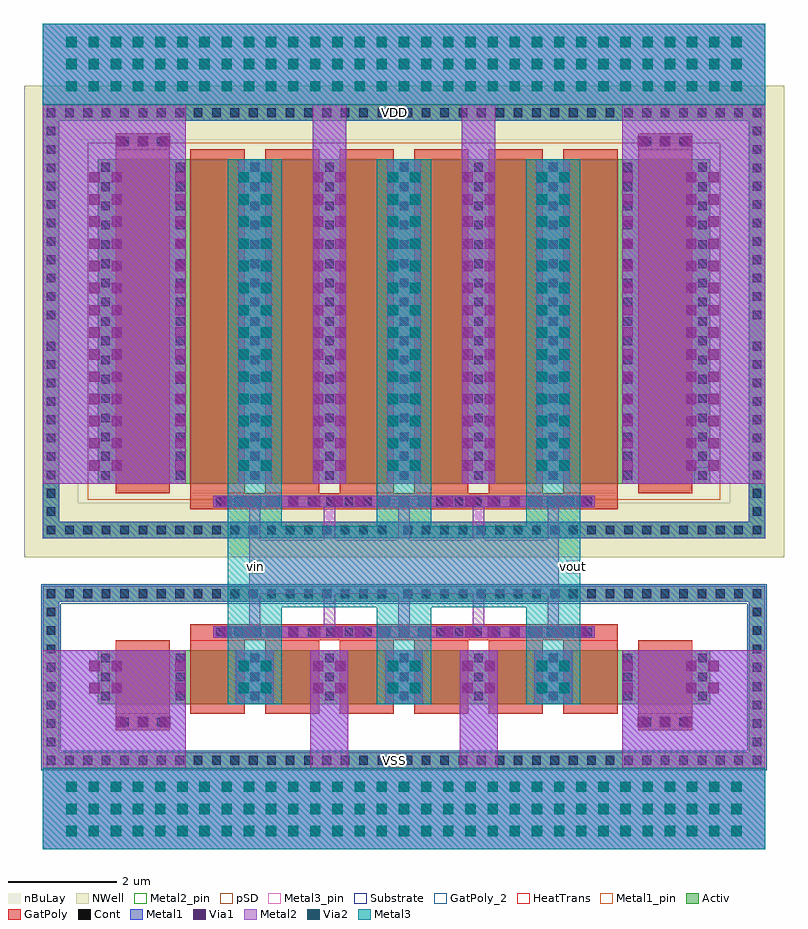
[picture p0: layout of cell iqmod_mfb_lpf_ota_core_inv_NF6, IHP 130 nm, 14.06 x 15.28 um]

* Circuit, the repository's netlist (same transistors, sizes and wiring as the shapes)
** sch_path: /foss/designs/TinyWhisper/ihp130/macros/iqmod/xschem/iqmod_mfb_lpf_ota_core_inv_NF6.sch
.subckt iqmod_mfb_lpf_ota_core_inv_NF6 nwell psub VDD vin vout VSS
*.PININFO vin:I VDD:B VSS:B vout:B nwell:B psub:B
MMdummy1 VSS VSS VSS psub sg13_lv_nmos w=2.0u l=1.0u ng=2
MMdummy2 VDD VDD VDD nwell sg13_lv_pmos w=12.0u l=1.0u ng=2
MM1 vout vin VSS psub sg13_lv_nmos w=6.0u l=1.0u ng=6
MM2 vout vin VDD nwell sg13_lv_pmos w=36.0u l=1.0u ng=6
RR1 VDD nwell ntap1 A=1.2468e-11 P=8.312e-05
RR2 VSS psub ptap1 A=9.684e-12 P=6.456e-05
.ends

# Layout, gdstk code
import gdstk
lib = gdstk.Library(unit=1e-6, precision=5e-09)
def R(c, l, rs):  # rectangles x0, y0, x1, y1
    for r in rs: c.add(gdstk.rectangle(r[:2], r[2:], *l))
def A(c, l, x, y, w, h, nx, ny, dx, dy):  # array of equal rectangles
    R(c, l, [(x+i*dx, y+j*dy, x+i*dx+w, y+j*dy+h) for i in range(nx) for j in range(ny)])
def P(c, l, *ps):  # polygons
    for p in ps: c.add(gdstk.Polygon(p, *l))
Activ = (1, 0)
GatPoly = (5, 0)
GatPoly_2 = (5, 2)
Cont = (6, 0)
Metal1 = (8, 0)
Metal1_pin = (8, 2)
Metal2 = (10, 0)
Metal2_pin = (10, 2)
pSD = (14, 0)
Via1 = (19, 0)
Via2 = (29, 0)
Metal3 = (30, 0)
Metal3_pin = (30, 2)
NWell = (31, 0)
nBuLay = (32, 0)
Substrate = (40, 0)
HeatTrans = (51, 0)

pmos_1 = lib.new_cell('pmos$1')
A(pmos_1, Activ, 0, 0, 0.3, 0.3, 9, 1, 1.38, 0)
R(pmos_1, Activ, [(-1.01,-0.71,-0.71,6.71), (12.05,-0.71,12.35,6.71), (0,0,11.34,6), (-1.01,6.71,12.35,7.01)])
P(pmos_1, Activ, [(-1.01,-1.01),(-1.01,6.71),(-0.71,6.71),(-0.71,-0.71),(12.05,-0.71),(12.05,6.71),(-1.01,6.71),(-1.01,7.01),(12.35,7.01),(12.35,-1.01)])
A(pmos_1, GatPoly, 0.34, -0.18, 1, 6.36, 8, 1, 1.38, 0)
R(pmos_1, GatPoly, [(0.34,-0.18,1.34,6.18)])
A(pmos_1, Cont, -0.94, -0.94, 0.16, 0.16, 19, 2, 0.34, 7.72)
A(pmos_1, Cont, 5.66, -0.94, 0.16, 0.16, 20, 2, 0.34, 7.72)
A(pmos_1, Cont, -0.94, -0.6, 0.16, 0.16, 1, 10, 0, 0.34)
A(pmos_1, Cont, 12.12, -0.6, 0.16, 0.16, 1, 10, 0, 0.34)
A(pmos_1, Cont, 0.07, 0.07, 0.16, 0.16, 9, 4, 1.38, 0.355)
A(pmos_1, Cont, 0.07, 1.495, 0.16, 0.16, 9, 4, 1.38, 0.355)
A(pmos_1, Cont, 0.07, 2.92, 0.16, 0.16, 9, 4, 1.38, 0.355)
A(pmos_1, Cont, -0.94, 3.04, 0.16, 0.16, 1, 11, 0, 0.34)
A(pmos_1, Cont, 12.12, 3.04, 0.16, 0.16, 1, 11, 0, 0.34)
A(pmos_1, Cont, 0.07, 4.345, 0.16, 0.16, 9, 4, 1.38, 0.355)
A(pmos_1, Cont, 0.07, 5.77, 0.16, 0.16, 9, 1, 1.38, 0)
A(pmos_1, Metal1, 1.45, 0, 0.16, 6, 8, 1, 1.38, 0)
R(pmos_1, Metal1, [(-1.01,-1.01,12.35,-0.71), (-1.01,-0.71,-0.71,6.71), (12.05,-0.71,12.35,6.71), (0.07,0,0.23,6), (0.07,0,0.23,6), (1.45,0,1.61,6), (-1.01,6.71,12.35,7.01)])
R(pmos_1, pSD, [(-0.18,-0.3,11.52,6.3)])
R(pmos_1, NWell, [(-1.36,-1.36,12.7,7.36), (-0.31,-0.31,11.65,6.31)])
R(pmos_1, nBuLay, [(-1.36,-0.36,-0.36,6.36), (11.7,-0.36,12.7,6.36), (-1.36,6.36,12.7,7.36)])
P(pmos_1, nBuLay, [(-1.36,-1.36),(-1.36,6.36),(-0.36,6.36),(-0.36,-0.36),(11.7,-0.36),(11.7,6.36),(-1.36,6.36),(-1.36,7.36),(12.7,7.36),(12.7,-1.36)])
R(pmos_1, Substrate, [(11.04,0,11.34,0.3)])
A(pmos_1, HeatTrans, 0.34, -0.18, 1, 6.36, 8, 1, 1.38, 0)
pmos_1.add(gdstk.Label('pmos', (0.84,3), layer=63, texttype=0))
pmos_1.add(gdstk.Label('well', (5.67,-0.86), layer=63, texttype=0))
pmos_1.add(gdstk.Label('pmos', (0.84,3), layer=51, texttype=0))
pmos_1.add(gdstk.Label('pmos', (2.22,3), layer=51, texttype=0))
pmos_1.add(gdstk.Label('pmos', (3.6,3), layer=51, texttype=0))
pmos_1.add(gdstk.Label('pmos', (4.98,3), layer=51, texttype=0))
pmos_1.add(gdstk.Label('pmos', (6.36,3), layer=51, texttype=0))
pmos_1.add(gdstk.Label('pmos', (7.74,3), layer=51, texttype=0))
pmos_1.add(gdstk.Label('pmos', (9.12,3), layer=51, texttype=0))
pmos_1.add(gdstk.Label('pmos', (10.5,3), layer=51, texttype=0))

nmos = lib.new_cell('nmos')
A(nmos, Activ, 0, 0, 0.3, 0.3, 9, 1, 1.38, 0)
R(nmos, Activ, [(-1.01,-0.89,-0.71,1.89), (12.05,-0.89,12.35,1.89), (0,0,11.34,1), (-1.01,1.89,12.35,2.19)])
P(nmos, Activ, [(-1.01,-1.19),(-1.01,1.89),(-0.71,1.89),(-0.71,-0.89),(12.05,-0.89),(12.05,1.89),(-1.01,1.89),(-1.01,2.19),(12.35,2.19),(12.35,-1.19)])
A(nmos, GatPoly, 0.34, -0.18, 1, 1.36, 8, 1, 1.38, 0)
R(nmos, GatPoly_2, [(0.34,-0.18,1.34,1.18)])
A(nmos, Cont, -0.94, -1.12, 0.16, 0.16, 19, 2, 0.34, 3.08)
A(nmos, Cont, 5.66, -1.12, 0.16, 0.16, 20, 2, 0.34, 3.08)
A(nmos, Cont, -0.94, -0.78, 0.16, 0.16, 1, 4, 0, 0.34)
A(nmos, Cont, 12.12, -0.78, 0.16, 0.16, 1, 4, 0, 0.34)
A(nmos, Cont, 0.07, 0.07, 0.16, 0.16, 9, 3, 1.38, 0.35)
A(nmos, Cont, -0.94, 0.6, 0.16, 0.16, 1, 4, 0, 0.34)
A(nmos, Cont, 12.12, 0.6, 0.16, 0.16, 1, 4, 0, 0.34)
A(nmos, Metal1, 0.07, 0, 0.16, 1, 9, 1, 1.38, 0)
R(nmos, Metal1, [(-1.01,-1.19,12.35,-0.89), (-1.01,-0.89,-0.71,1.89), (12.05,-0.89,12.35,1.89), (-1.01,1.89,12.35,2.19)])
R(nmos, Metal1_pin, [(0.07,0,0.23,1), (1.45,0,1.61,1)])
R(nmos, pSD, [(-1.04,-0.86,-0.68,1.86), (12.02,-0.86,12.38,1.86), (-1.04,1.86,12.38,2.22)])
P(nmos, pSD, [(-1.04,-1.22),(-1.04,1.86),(-0.68,1.86),(-0.68,-0.86),(12.02,-0.86),(12.02,1.86),(-1.04,1.86),(-1.04,2.22),(12.38,2.22),(12.38,-1.22)])
R(nmos, Substrate, [(-1.04,-0.86,-0.68,1.86), (12.02,-0.86,12.38,1.86), (-1.04,1.86,12.38,2.22)])
P(nmos, Substrate, [(-1.04,-1.22),(-1.04,1.86),(-0.68,1.86),(-0.68,-0.86),(12.02,-0.86),(12.02,1.86),(-1.04,1.86),(-1.04,2.22),(12.38,2.22),(12.38,-1.22)])
A(nmos, HeatTrans, 0.34, -0.18, 1, 1.36, 8, 1, 1.38, 0)
nmos.add(gdstk.Label('nmos', (0.84,0.5), layer=63, texttype=0))
nmos.add(gdstk.Label('sub!', (5.67,-1.04), layer=63, texttype=0))
nmos.add(gdstk.Label('nmos', (0.84,0.5), layer=51, texttype=0))
nmos.add(gdstk.Label('nmos', (2.22,0.5), layer=51, texttype=0))
nmos.add(gdstk.Label('nmos', (3.6,0.5), layer=51, texttype=0))
nmos.add(gdstk.Label('nmos', (4.98,0.5), layer=51, texttype=0))
nmos.add(gdstk.Label('nmos', (6.36,0.5), layer=51, texttype=0))
nmos.add(gdstk.Label('nmos', (7.74,0.5), layer=51, texttype=0))
nmos.add(gdstk.Label('nmos', (9.12,0.5), layer=51, texttype=0))
nmos.add(gdstk.Label('nmos', (10.5,0.5), layer=51, texttype=0))

via_stack_13 = lib.new_cell('via_stack$13')
R(via_stack_13, Metal1, [(-6.295,-0.515,6.295,0.515)])
R(via_stack_13, Metal2, [(-6.295,-0.51,6.295,0.51)])
A(via_stack_13, Via1, -6.245, -0.505, 0.19, 0.19, 31, 3, 0.41, 0.41)
A(via_stack_13, Via2, -6.245, -0.505, 0.19, 0.19, 31, 3, 0.41, 0.41)
R(via_stack_13, Metal3, [(-6.295,-0.51,6.295,0.51)])

via_stack_10 = lib.new_cell('via_stack$10')
R(via_stack_10, Metal1, [(-3.425,-0.105,3.425,0.105)])
R(via_stack_10, Metal2, [(-3.425,-0.1,3.425,0.1)])
A(via_stack_10, Via1, -3.375, -0.095, 0.19, 0.19, 17, 1, 0.41, 0)

via_stack_9 = lib.new_cell('via_stack$9')
R(via_stack_9, GatPoly, [(-3.55,-0.15,3.55,0.15)])
A(via_stack_9, Cont, -3.48, -0.08, 0.16, 0.16, 21, 1, 0.34, 0)
R(via_stack_9, Metal1, [(-3.53,-0.08,3.53,0.08)])

via_stack_12 = lib.new_cell('via_stack$12')
R(via_stack_12, Metal1, [(-0.31,-2.81,0.31,2.81)])
R(via_stack_12, Metal2, [(-0.305,-2.81,0.305,2.81)])
A(via_stack_12, Via1, -0.3, -2.76, 0.19, 0.19, 1, 14, 0, 0.41)
A(via_stack_12, Via1, 0.11, -2.76, 0.19, 0.19, 1, 14, 0, 0.41)
A(via_stack_12, Via2, -0.3, -2.76, 0.19, 0.19, 1, 14, 0, 0.41)
A(via_stack_12, Via2, 0.11, -2.76, 0.19, 0.19, 1, 14, 0, 0.41)
R(via_stack_12, Metal3, [(-0.305,-2.81,0.305,2.81)])

via_stack = lib.new_cell('via_stack')
R(via_stack, Metal1, [(-0.35,-0.31,0.35,0.31)])
R(via_stack, Metal2, [(-0.35,-0.305,0.35,0.305)])
R(via_stack, Via1, [(-0.3,-0.3,-0.11,-0.11), (0.11,-0.3,0.3,-0.11), (-0.3,0.11,-0.11,0.3), (0.11,0.11,0.3,0.3)])
R(via_stack, Via2, [(-0.3,-0.3,-0.11,-0.11), (0.11,-0.3,0.3,-0.11), (-0.3,0.11,-0.11,0.3), (0.11,0.11,0.3,0.3)])
R(via_stack, Metal3, [(-0.35,-0.305,0.35,0.305)])

via_stack_5 = lib.new_cell('via_stack$5')
R(via_stack_5, Metal1, [(-0.35,-0.31,0.35,0.31)])
R(via_stack_5, Metal2, [(-0.35,-0.305,0.35,0.305)])
R(via_stack_5, Via1, [(-0.3,-0.3,-0.11,-0.11), (0.11,-0.3,0.3,-0.11), (-0.3,0.11,-0.11,0.3), (0.11,0.11,0.3,0.3)])

via_stack_8 = lib.new_cell('via_stack$8')
R(via_stack_8, Metal1, [(-0.105,-0.35,0.105,0.35)])
R(via_stack_8, Metal2, [(-0.1,-0.35,0.1,0.35)])
R(via_stack_8, Via1, [(-0.095,-0.3,0.095,-0.11), (-0.095,0.11,0.095,0.3)])

via_stack_11 = lib.new_cell('via_stack$11')
R(via_stack_11, Metal1, [(-0.31,-2.81,0.31,2.81)])
R(via_stack_11, Metal2, [(-0.305,-2.81,0.305,2.81)])
A(via_stack_11, Via1, -0.3, -2.76, 0.19, 0.19, 1, 14, 0, 0.41)
A(via_stack_11, Via1, 0.11, -2.76, 0.19, 0.19, 1, 14, 0, 0.41)

via_stack_7 = lib.new_cell('via_stack$7')
R(via_stack_7, Metal1, [(-0.105,-2.81,0.105,2.81)])
R(via_stack_7, Metal2, [(-0.1,-2.81,0.1,2.81)])
A(via_stack_7, Via1, -0.095, -2.76, 0.19, 0.19, 1, 14, 0, 0.41)

via_stack_15 = lib.new_cell('via_stack$15')
R(via_stack_15, GatPoly, [(-0.49,-0.15,0.49,0.15)])
A(via_stack_15, Cont, -0.42, -0.08, 0.16, 0.16, 3, 1, 0.34, 0)
R(via_stack_15, Metal1, [(-0.555,-0.105,0.555,0.105)])
R(via_stack_15, Metal2, [(-0.555,-0.1,0.555,0.1)])
A(via_stack_15, Via1, -0.505, -0.095, 0.19, 0.19, 3, 1, 0.41, 0)

iqmod_mfb_lpf_ota_core_i = lib.new_cell('iqmod_mfb_lpf_ota_core_inv_NF6')
R(iqmod_mfb_lpf_ota_core_i, GatPoly, [(1.7,2.21,2.7,2.51), (11.36,2.21,12.36,2.51), (3.08,3.87,10.98,4.17), (3.08,6.29,10.98,6.59), (1.7,12.95,2.7,13.25), (11.36,12.95,12.36,13.25)])
A(iqmod_mfb_lpf_ota_core_i, Metal1, 3.92, 2.69, 0.7, 1, 5, 1, 1.38, 0)
A(iqmod_mfb_lpf_ota_core_i, Metal1, 3.96, 6.77, 0.62, 6, 5, 1, 1.38, 0)
R(iqmod_mfb_lpf_ota_core_i, Metal1, [(0.35,0,13.71,1.5), (0.35,1.5,2.995,3.69), (5.3,1.5,6,3.69), (6.61,1.5,7.11,1.8), (8.06,1.5,8.76,3.69), (11.065,1.5,13.71,3.69), (1.645,2.21,2.755,2.51), (11.305,2.21,12.415,2.51), (1.16,2.69,1.86,3.69), (12.2,2.69,12.9,3.69), (3.5,3.915,10.56,4.125), (3.5,6.335,10.56,6.545), (0.35,6.77,2.995,13.78), (1.2,6.77,1.82,12.77), (2.785,6.77,2.995,12.77), (5.34,6.77,5.96,13.78), (8.1,6.77,8.72,13.78), (11.065,6.77,13.71,13.78), (11.065,6.77,11.275,12.77), (12.24,6.77,12.86,12.77), (1.645,12.95,2.755,13.25), (11.305,12.95,12.415,13.25), (6.61,13.48,7.11,13.78), (0.35,13.78,13.71,15.28)])
R(iqmod_mfb_lpf_ota_core_i, Metal1_pin, [(6.735,1.525,6.985,1.775), (6.735,13.505,6.985,13.755)])
A(iqmod_mfb_lpf_ota_core_i, Metal2, 3.92, 2.69, 0.7, 1, 5, 1, 1.38, 0)
A(iqmod_mfb_lpf_ota_core_i, Metal2, 4.165, 4.12, 0.21, 2.22, 5, 1, 1.38, 0)
A(iqmod_mfb_lpf_ota_core_i, Metal2, 3.96, 6.77, 0.62, 6, 5, 1, 1.38, 0)
R(iqmod_mfb_lpf_ota_core_i, Metal2, [(0.35,0,13.71,1.5), (0.35,1.5,2.995,3.69), (5.3,1.5,6,3.69), (8.06,1.5,8.76,3.69), (11.065,1.5,13.71,3.69), (1.645,2.21,2.755,2.51), (11.305,2.21,12.415,2.51), (1.16,2.69,1.86,3.69), (12.2,2.69,12.9,3.69), (3.5,3.915,10.56,4.125), (4.165,4.73,9.895,5.73), (3.5,6.335,10.56,6.545), (0.35,6.77,2.995,13.78), (1.2,6.77,1.82,12.77), (2.785,6.77,2.995,12.77), (5.34,6.77,5.96,13.78), (8.1,6.77,8.72,13.78), (11.065,6.77,13.71,13.78), (11.065,6.77,11.275,12.77), (12.24,6.77,12.86,12.77), (1.645,12.95,2.755,13.25), (11.305,12.95,12.415,13.25), (0.35,13.78,13.71,15.28)])
R(iqmod_mfb_lpf_ota_core_i, Metal2_pin, [(4.165,5.105,4.415,5.355)])
A(iqmod_mfb_lpf_ota_core_i, Metal3, 3.77, 2.69, 1, 10.08, 3, 1, 2.76, 0)
R(iqmod_mfb_lpf_ota_core_i, Metal3, [(0.35,0,13.71,1.5), (3.77,4.48,10.29,5.98), (0.35,13.78,13.71,15.28)])
R(iqmod_mfb_lpf_ota_core_i, Metal3_pin, [(10.04,5.105,10.29,5.355)])
iqmod_mfb_lpf_ota_core_i.add(gdstk.Reference(pmos_1, (1.36,6.77)))
iqmod_mfb_lpf_ota_core_i.add(gdstk.Reference(nmos, (1.36,2.69)))
iqmod_mfb_lpf_ota_core_i.add(gdstk.Reference(via_stack_13, (7.03,14.53)))
iqmod_mfb_lpf_ota_core_i.add(gdstk.Reference(via_stack_10, (7.03,4.02)))
iqmod_mfb_lpf_ota_core_i.add(gdstk.Reference(via_stack_9, (7.03,4.02)))
iqmod_mfb_lpf_ota_core_i.add(gdstk.Reference(via_stack_13, (7.03,0.75)))
iqmod_mfb_lpf_ota_core_i.add(gdstk.Reference(via_stack_12, (4.27,9.77)))
iqmod_mfb_lpf_ota_core_i.add(gdstk.Reference(via_stack_10, (7.03,6.44)))
iqmod_mfb_lpf_ota_core_i.add(gdstk.Reference(via_stack_9, (7.03,6.44)))
iqmod_mfb_lpf_ota_core_i.add(gdstk.Reference(via_stack, (4.27,3.19)))
iqmod_mfb_lpf_ota_core_i.add(gdstk.Reference(via_stack, (7.03,3.19)))
iqmod_mfb_lpf_ota_core_i.add(gdstk.Reference(via_stack_5, (12.55,3.19)))
iqmod_mfb_lpf_ota_core_i.add(gdstk.Reference(via_stack_5, (8.41,3.19)))
iqmod_mfb_lpf_ota_core_i.add(gdstk.Reference(via_stack_5, (5.65,3.19)))
iqmod_mfb_lpf_ota_core_i.add(gdstk.Reference(via_stack_8, (11.17,3.19)))
iqmod_mfb_lpf_ota_core_i.add(gdstk.Reference(via_stack_5, (1.51,3.19)))
iqmod_mfb_lpf_ota_core_i.add(gdstk.Reference(via_stack, (9.79,3.19)))
iqmod_mfb_lpf_ota_core_i.add(gdstk.Reference(via_stack_8, (2.89,3.19)))
iqmod_mfb_lpf_ota_core_i.add(gdstk.Reference(via_stack_11, (12.55,9.77)))
iqmod_mfb_lpf_ota_core_i.add(gdstk.Reference(via_stack_12, (9.79,9.77)))
iqmod_mfb_lpf_ota_core_i.add(gdstk.Reference(via_stack_7, (11.17,9.77)))
iqmod_mfb_lpf_ota_core_i.add(gdstk.Reference(via_stack_7, (2.89,9.77)))
iqmod_mfb_lpf_ota_core_i.add(gdstk.Reference(via_stack_11, (1.51,9.77)))
iqmod_mfb_lpf_ota_core_i.add(gdstk.Reference(via_stack_12, (7.03,9.77)))
iqmod_mfb_lpf_ota_core_i.add(gdstk.Reference(via_stack_11, (5.65,9.77)))
iqmod_mfb_lpf_ota_core_i.add(gdstk.Reference(via_stack_11, (8.41,9.77)))
iqmod_mfb_lpf_ota_core_i.add(gdstk.Reference(via_stack_15, (2.2,2.36)))
iqmod_mfb_lpf_ota_core_i.add(gdstk.Reference(via_stack_15, (11.86,2.36)))
iqmod_mfb_lpf_ota_core_i.add(gdstk.Reference(via_stack_15, (2.2,13.1)))
iqmod_mfb_lpf_ota_core_i.add(gdstk.Reference(via_stack_15, (11.86,13.1)))
iqmod_mfb_lpf_ota_core_i.add(gdstk.Label('vin', (4.29,5.23), layer=10, texttype=25))
iqmod_mfb_lpf_ota_core_i.add(gdstk.Label('VSS', (6.86,1.65), layer=8, texttype=25))
iqmod_mfb_lpf_ota_core_i.add(gdstk.Label('VDD', (6.86,13.63), layer=8, texttype=25))
iqmod_mfb_lpf_ota_core_i.add(gdstk.Label('vout', (10.165,5.23), layer=30, texttype=25))

lib.write_gds('iqmod_mfb_lpf_ota_core_inv_NF6.gds')
